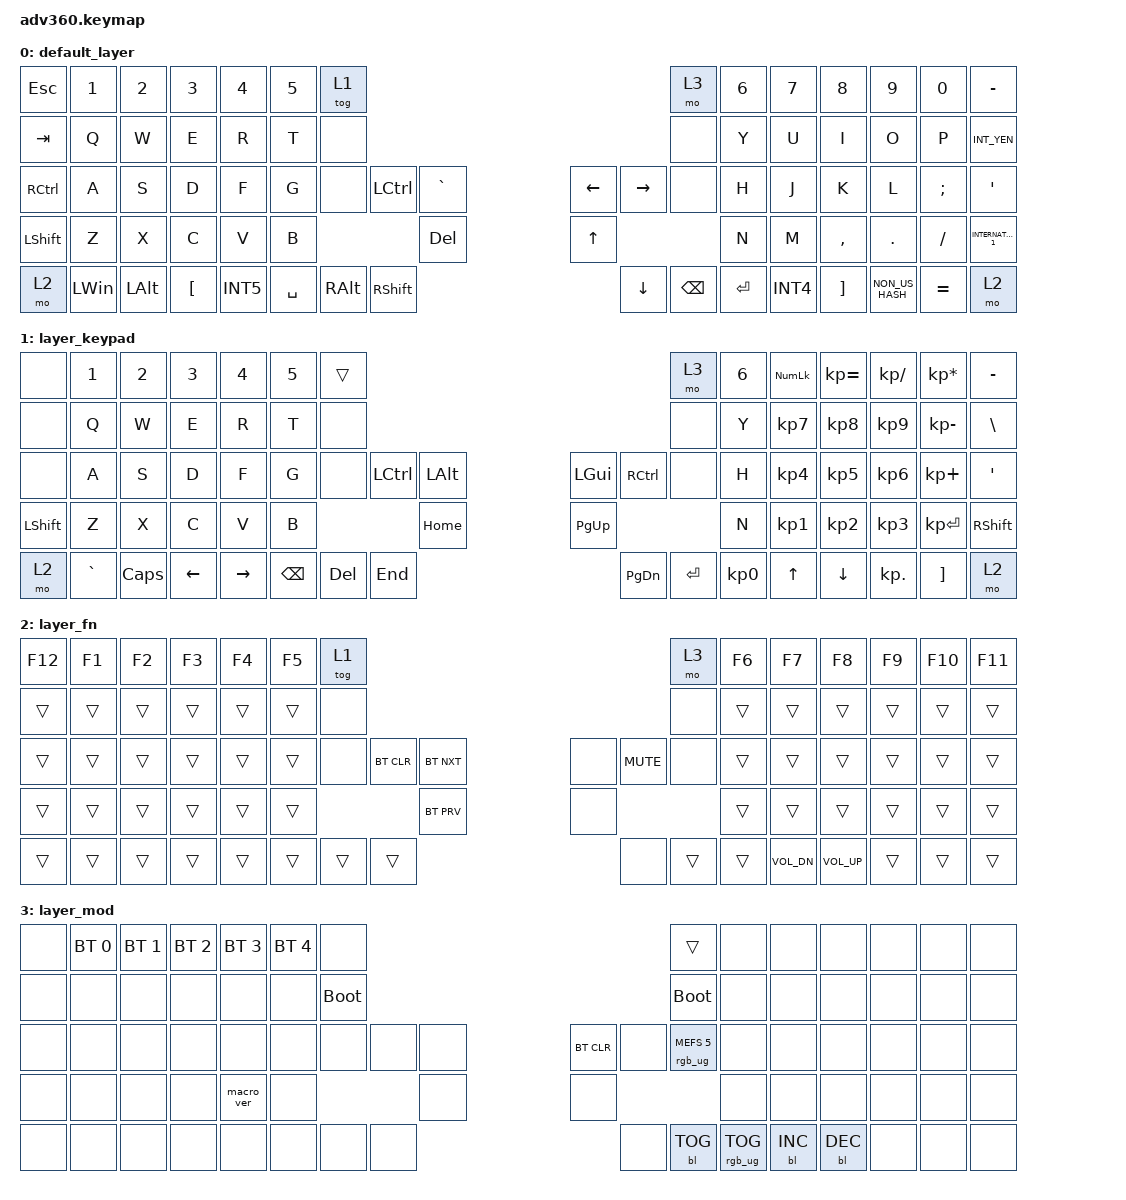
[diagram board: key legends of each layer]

/*
 * Copyright (c) 2020 The ZMK Contributors
 *
 * SPDX-License-Identifier: MIT
 */


/* THIS FILE WAS GENERATED!
 *
 * This file was generated automatically. You may or may not want to
 * edit it directly.
 */

#include <behaviors.dtsi>
#include <dt-bindings/zmk/keys.h>
#include <dt-bindings/zmk/bt.h>
#include <dt-bindings/zmk/rgb.h>
#include <dt-bindings/zmk/backlight.h>

/ {
  behaviors {
    #include "macros.dtsi"
    #include "version.dtsi"

    hm: homerow_mods {
        compatible = "zmk,behavior-hold-tap";
        label = "HOMEROW_MODS";
        #binding-cells = <2>;
        tapping-term-ms = <200>;
        quick_tap_ms = <175>;
        flavor = "tap-preferred";
        bindings = <&kp>, <&kp>;
    };
  };

    keymap {
        compatible = "zmk,keymap";


        default_layer {
            bindings = <
   &kp ESC        &kp N1        &kp N2    &kp N3    &kp N4  &kp N5               &tog 1                                                                               &mo 3  &kp N6    &kp N7     &kp N8           &kp N9     &kp N0            &kp MINUS
   &kp TAB         &kp Q         &kp W     &kp E     &kp R   &kp T                &none                                                                               &none   &kp Y     &kp U      &kp I            &kp O      &kp P          &kp INT_YEN
 &kp RCTRL         &kp A         &kp S     &kp D     &kp F   &kp G                &none      &kp LCTRL        &kp GRAVE                  &kp LEFT      &kp RIGHT      &none   &kp H     &kp J      &kp K            &kp L   &kp SEMI              &kp SQT
 &kp LSHFT         &kp Z         &kp X     &kp C     &kp V   &kp B                                              &kp DEL                    &kp UP                             &kp N     &kp M  &kp COMMA          &kp DOT   &kp FSLH  &kp INTERNATIONAL_1
     &mo 2  &kp LEFT_WIN  &kp LEFT_ALT  &kp LBKT  &kp INT5                    &kp SPACE  &kp RIGHT_ALT  &kp RIGHT_SHIFT                  &kp DOWN  &kp BACKSPACE  &kp ENTER          &kp INT4   &kp RBKT  &kp NON_US_HASH  &kp EQUAL                &mo 2
            >;
        };

        layer_keypad {
            bindings = <
     &none     &kp N1    &kp N2    &kp N3     &kp N4  &kp N5              &trans                                                                 &mo 3  &kp N6  &kp KP_NUM  &kp KP_EQUAL  &kp KP_DIVIDE  &kp KP_MULTIPLY  &kp MINUS
     &none      &kp Q     &kp W     &kp E      &kp R   &kp T               &none                                                                 &none   &kp Y   &kp KP_N7     &kp KP_N8      &kp KP_N9     &kp KP_MINUS   &kp BSLH
     &none      &kp A     &kp S     &kp D      &kp F   &kp G               &none  &kp LCTRL  &kp LALT                   &kp LGUI  &kp RCTRL      &none   &kp H   &kp KP_N4     &kp KP_N5      &kp KP_N6      &kp KP_PLUS    &kp SQT
 &kp LSHFT      &kp Z     &kp X     &kp C      &kp V   &kp B                                 &kp HOME                  &kp PG_UP                         &kp N   &kp KP_N1     &kp KP_N2      &kp KP_N3     &kp KP_ENTER  &kp RSHFT
     &mo 2  &kp GRAVE  &kp CAPS  &kp LEFT  &kp RIGHT                    &kp BSPC    &kp DEL   &kp END                  &kp PG_DN  &kp ENTER  &kp KP_N0              &kp UP      &kp DOWN     &kp KP_DOT         &kp RBKT      &mo 2
            >;
        };

        layer_fn {
            bindings = <
 &kp F12  &kp F1  &kp F2  &kp F3  &kp F4  &kp F5            &tog 1                                                               &mo 3  &kp F6        &kp F7        &kp F8  &kp F9  &kp F10  &kp F11
  &trans  &trans  &trans  &trans  &trans  &trans             &none                                                               &none  &trans        &trans        &trans  &trans   &trans   &trans
  &trans  &trans  &trans  &trans  &trans  &trans             &none  &bt BT_CLR  &bt BT_NXT                   &none  &kp C_MUTE   &none  &trans        &trans        &trans  &trans   &trans   &trans
  &trans  &trans  &trans  &trans  &trans  &trans                                &bt BT_PRV                   &none                      &trans        &trans        &trans  &trans   &trans   &trans
  &trans  &trans  &trans  &trans  &trans                    &trans      &trans      &trans                   &none      &trans  &trans          &kp C_VOL_DN  &kp C_VOL_UP  &trans   &trans   &trans
            >;
        };

        layer_mod {
            bindings = <
  &none  &bt BT_SEL 0  &bt BT_SEL 1  &bt BT_SEL 2  &bt BT_SEL 3  &bt BT_SEL 4                  &none                                                                          &trans   &none       &none       &none   &none   &none   &none
  &none         &none         &none         &none         &none         &none            &bootloader                                                                     &bootloader   &none       &none       &none   &none   &none   &none
  &none         &none         &none         &none         &none         &none                  &none   &none   &none                  &bt BT_CLR       &none  &rgb_ug RGB_MEFS_CMD 5   &none       &none       &none   &none   &none   &none
  &none         &none         &none         &none    &macro_ver         &none                                  &none                       &none                                       &none       &none       &none   &none   &none   &none
  &none         &none         &none         &none         &none                                &none   &none   &none                       &none  &bl BL_TOG         &rgb_ug RGB_TOG          &bl BL_INC  &bl BL_DEC   &none   &none   &none
            >;
        };

    };
};
